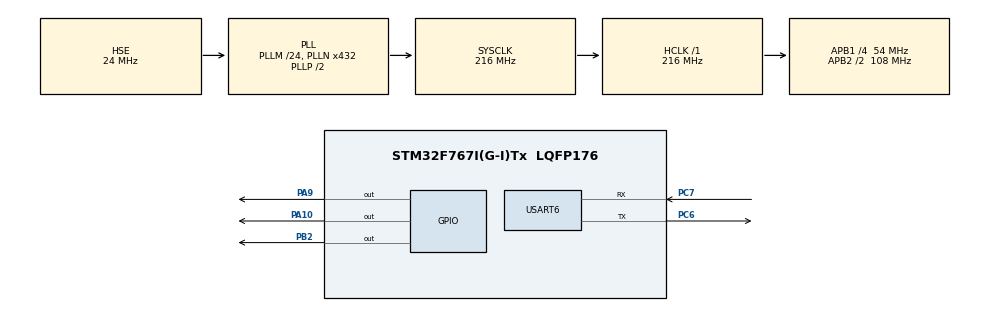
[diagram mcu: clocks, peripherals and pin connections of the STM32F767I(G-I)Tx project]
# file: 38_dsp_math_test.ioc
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Mcu.Family=STM32F7
Mcu.Name=STM32F767I(G-I)Tx
Mcu.Package=LQFP176
NVIC.PriorityGroup=NVIC_PRIORITYGROUP_4
NVIC.TIM3_IRQn=true\:1\:0\:true\:false\:true
NVIC.USART6_IRQn=true\:1\:0\:true\:false\:true
PA10.GPIO_ModeDefaultOutputPP=GPIO_MODE_OUTPUT_PP
PA10.GPIO_PuPd=GPIO_PULLUP
PA10.GPIO_Speed=GPIO_SPEED_FREQ_VERY_HIGH
PA10.PinState=GPIO_PIN_SET
PA10.Signal=GPIO_Output
PA9.GPIO_ModeDefaultOutputPP=GPIO_MODE_OUTPUT_PP
PA9.GPIO_PuPd=GPIO_PULLUP
PA9.GPIO_Speed=GPIO_SPEED_FREQ_VERY_HIGH
PA9.PinState=GPIO_PIN_SET
PA9.Signal=GPIO_Output
PB2.GPIO_PuPd=GPIO_PULLUP
PB2.GPIO_Speed=GPIO_SPEED_FREQ_VERY_HIGH
PB2.PinState=GPIO_PIN_SET
PB2.Signal=GPIO_Output
PC6.Mode=Asynchronous
PC6.Signal=USART6_TX
PC7.Mode=Asynchronous
PC7.Signal=USART6_RX
PH0/OSC_IN.Mode=HSE-External-Oscillator
PH0/OSC_IN.Signal=RCC_OSC_IN
PH1/OSC_OUT.Mode=HSE-External-Oscillator
PH1/OSC_OUT.Signal=RCC_OSC_OUT
ProjectManager.HeapSize=0x200
ProjectManager.StackSize=0x400
ProjectManager.TargetToolchain=MDK-ARM V5
RCC.AHBFreq_Value=216000000
RCC.APB1CLKDivider=RCC_HCLK_DIV4
RCC.APB1Freq_Value=54000000
RCC.APB1TimFreq_Value=108000000
RCC.APB2CLKDivider=RCC_HCLK_DIV2
RCC.APB2Freq_Value=108000000
RCC.APB2TimFreq_Value=216000000
RCC.CortexFreq_Value=216000000
RCC.HCLKFreq_Value=216000000
RCC.HSE_VALUE=24000000
RCC.HSI_VALUE=16000000
RCC.LSE_VALUE=32768
RCC.PLLM=24
RCC.PLLN=432
RCC.PLLSourceVirtual=RCC_PLLSOURCE_HSE
RCC.SYSCLKFreq_VALUE=216000000
RCC.SYSCLKSource=RCC_SYSCLKSOURCE_PLLCLK
RCC.USBFreq_Value=216000000
RCC.VCOOutputFreq_Value=432000000
TIM3.Period=4999
TIM3.Prescaler=10799
USART6.VirtualMode-Asynchronous=VM_ASYNC
VP_TIM3_VS_ClockSourceINT.Mode=Internal
board=38_dsp_math_test

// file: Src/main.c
/**
  ******************************************************************************
  * File Name          : main.c
  * Description        : Main program body
  ******************************************************************************
  ** This notice applies to any and all portions of this file
  * that are not between comment pairs USER CODE BEGIN and
  * USER CODE END. Other portions of this file, whether
  * inserted by the user or by software development tools
  * are owned by their respective copyright owners.
  *
  * COPYRIGHT(c) 2017 STMicroelectronics
  *
  * Redistribution and use in source and binary forms, with or without modification,
  * are permitted provided that the following conditions are met:
  *   1. Redistributions of source code must retain the above copyright notice,
  *      this list of conditions and the following disclaimer.
  *   2. Redistributions in binary form must reproduce the above copyright notice,
  *      this list of conditions and the following disclaimer in the documentation
  *      and/or other materials provided with the distribution.
  *   3. Neither the name of STMicroelectronics nor the names of its contributors
  *      may be used to endorse or promote products derived from this software
  *      without specific prior written permission.
  *
  * THIS SOFTWARE IS PROVIDED BY THE COPYRIGHT HOLDERS AND CONTRIBUTORS "AS IS"
  * AND ANY EXPRESS OR IMPLIED WARRANTIES, INCLUDING, BUT NOT LIMITED TO, THE
  * IMPLIED WARRANTIES OF MERCHANTABILITY AND FITNESS FOR A PARTICULAR PURPOSE ARE
  * DISCLAIMED. IN NO EVENT SHALL THE COPYRIGHT HOLDER OR CONTRIBUTORS BE LIABLE
  * FOR ANY DIRECT, INDIRECT, INCIDENTAL, SPECIAL, EXEMPLARY, OR CONSEQUENTIAL
  * DAMAGES (INCLUDING, BUT NOT LIMITED TO, PROCUREMENT OF SUBSTITUTE GOODS OR
  * SERVICES; LOSS OF USE, DATA, OR PROFITS; OR BUSINESS INTERRUPTION) HOWEVER
  * CAUSED AND ON ANY THEORY OF LIABILITY, WHETHER IN CONTRACT, STRICT LIABILITY,
  * OR TORT (INCLUDING NEGLIGENCE OR OTHERWISE) ARISING IN ANY WAY OUT OF THE USE
  * OF THIS SOFTWARE, EVEN IF ADVISED OF THE POSSIBILITY OF SUCH DAMAGE.
  *
  ******************************************************************************
  */
#include "main.h"
#include "stm32f7xx_hal.h"
#include "tim.h"
#include "usart.h"
#include "gpio.h"

/* USER CODE BEGIN Includes */
#include "usart6.h"
#include "arm_math.h"
#include "math.h"
/* USER CODE END Includes */

/* USER CODE BEGIN PV */
/* Private variables ---------------------------------------------------------*/
const float32_t testInput_f32[MAX_BLOCKSIZE] =
{
  -1.244916875853235400,  -4.793533929171324800,   0.360705030233248850,   0.827929644170887320,  -3.299532218312426900,   3.427441903227623800,   3.422401784294607700,  -0.108308165334010680,
   0.941943896490312180,   0.502609575000365850,  -0.537345278736373500,   2.088817392965764500,  -1.693168684143455700,   6.283185307179590700,  -0.392545884746175080,   0.327893095115825040,
   3.070147440456292300,   0.170611405884662230,  -0.275275082396073010,  -2.395492805446796300,   0.847311163536506600,  -3.845517018083148800,   2.055818378415868300,   4.672594161978930800,
  -1.990923030266425800,   2.469305197656249500,   3.609002606064021000,  -4.586736582331667500,  -4.147080139136136300,   1.643756718868359500,  -1.150866392366494800,   1.985805026477433800
};

int timeout;
/* USER CODE END PV */

void SystemClock_Config(void);

/* USER CODE BEGIN PFP */
/* Private function prototypes -----------------------------------------------*/
int SinCos_Test(float testInput,unsigned char mode);
/* USER CODE END PFP */

/* USER CODE BEGIN 0 */
/*
	实验现象:

	本实验进行DSP浮点运算测试，分别测试出不使用DSP MATH库和使用DSP MATH库的运算时间，进行对比。
	测试成功绿色LED点亮，测试失败红色LED点亮。
*/
/* USER CODE END 0 */

int main(void)
{

  /* USER CODE BEGIN 1 */
	int i,j;
	int res;
	float time[2];
	static int error_flag = 0;
  /* USER CODE END 1 */

  /* MCU Configuration----------------------------------------------------------*/

  /* Reset of all peripherals, Initializes the Flash interface and the Systick. */
  HAL_Init();

  /* Configure the system clock */
  SystemClock_Config();

  /* Initialize all configured peripherals */
  MX_GPIO_Init();
  MX_USART6_UART_Init();
  MX_TIM3_Init();

  /* USER CODE BEGIN 2 */
	usart6.initialize(115200);
	usart6.printf("\x0c");  																							//清屏
	usart6.printf("\033[1;32;40m");                                       //设置终端字体为绿色
	usart6.printf("Hello, I am iCore4!\r\n\r\n");
	usart6.printf("DSP BasicMath TEST......\r\n");
  /* USER CODE END 2 */

  /* Infinite loop */
  while (1)
  {

  /* USER CODE BEGIN 3 */
		timeout = 0;
		__HAL_TIM_SET_COUNTER(&htim3,0);
		for(j = 0;j < 10000;j++){
			for(i = 0;i < MAX_BLOCKSIZE;i ++){
				res = SinCos_Test(testInput_f32[i],0);
				if(res != 0)error_flag ++;
			}
		}
		time[0] = __HAL_TIM_GET_COUNTER(&htim3)+ timeout*5000;

		timeout = 0;
		__HAL_TIM_SET_COUNTER(&htim3,0);
		for(j = 0;j < 10000;j++){
			for(i = 0;i < MAX_BLOCKSIZE;i ++){
				res = SinCos_Test(testInput_f32[i],1);
				if(res != 0)error_flag ++;
			}
		}
		time[1] = __HAL_TIM_GET_COUNTER(&htim3)+ timeout*5000;

		if(error_flag == 0){
			usart6.printf("*NO DSP MATHLIB runtime:%0.1fms *USE DSP MATHLIB runtime:%0.1fms\r",time[0] / 10, time[1] / 10);
			LED_GREEN_ON;
			LED_RED_OFF;
			LED_BLUE_OFF;
		}
		else{
			usart6.printf("Error\r");
			LED_GREEN_OFF;
			LED_RED_ON;
			LED_BLUE_OFF;
		}
  }
  /* USER CODE END 3 */

}

/** System Clock Configuration
*/
void SystemClock_Config(void)
{

  RCC_OscInitTypeDef RCC_OscInitStruct;
  RCC_ClkInitTypeDef RCC_ClkInitStruct;
  RCC_PeriphCLKInitTypeDef PeriphClkInitStruct;

    /**Configure the main internal regulator output voltage
    */
  __HAL_RCC_PWR_CLK_ENABLE();

  __HAL_PWR_VOLTAGESCALING_CONFIG(PWR_REGULATOR_VOLTAGE_SCALE1);

    /**Initializes the CPU, AHB and APB busses clocks
    */
  RCC_OscInitStruct.OscillatorType = RCC_OSCILLATORTYPE_HSE;
  RCC_OscInitStruct.HSEState = RCC_HSE_ON;
  RCC_OscInitStruct.PLL.PLLState = RCC_PLL_ON;
  RCC_OscInitStruct.PLL.PLLSource = RCC_PLLSOURCE_HSE;
  RCC_OscInitStruct.PLL.PLLM = 24;
  RCC_OscInitStruct.PLL.PLLN = 432;
  RCC_OscInitStruct.PLL.PLLP = RCC_PLLP_DIV2;
  RCC_OscInitStruct.PLL.PLLQ = 2;
  if (HAL_RCC_OscConfig(&RCC_OscInitStruct) != HAL_OK)
  {
    _Error_Handler(__FILE__, __LINE__);
  }

    /**Activate the Over-Drive mode
    */
  if (HAL_PWREx_EnableOverDrive() != HAL_OK)
  {
    _Error_Handler(__FILE__, __LINE__);
  }

    /**Initializes the CPU, AHB and APB busses clocks
    */
  RCC_ClkInitStruct.ClockType = RCC_CLOCKTYPE_HCLK|RCC_CLOCKTYPE_SYSCLK
                              |RCC_CLOCKTYPE_PCLK1|RCC_CLOCKTYPE_PCLK2;
  RCC_ClkInitStruct.SYSCLKSource = RCC_SYSCLKSOURCE_PLLCLK;
  RCC_ClkInitStruct.AHBCLKDivider = RCC_SYSCLK_DIV1;
  RCC_ClkInitStruct.APB1CLKDivider = RCC_HCLK_DIV4;
  RCC_ClkInitStruct.APB2CLKDivider = RCC_HCLK_DIV2;

  if (HAL_RCC_ClockConfig(&RCC_ClkInitStruct, FLASH_LATENCY_7) != HAL_OK)
  {
    _Error_Handler(__FILE__, __LINE__);
  }

  PeriphClkInitStruct.PeriphClockSelection = RCC_PERIPHCLK_USART6;
  PeriphClkInitStruct.Usart6ClockSelection = RCC_USART6CLKSOURCE_PCLK2;
  if (HAL_RCCEx_PeriphCLKConfig(&PeriphClkInitStruct) != HAL_OK)
  {
    _Error_Handler(__FILE__, __LINE__);
  }

    /**Configure the Systick interrupt time
    */
  HAL_SYSTICK_Config(HAL_RCC_GetHCLKFreq()/1000);

    /**Configure the Systick
    */
  HAL_SYSTICK_CLKSourceConfig(SYSTICK_CLKSOURCE_HCLK);

  /* SysTick_IRQn interrupt configuration */
  HAL_NVIC_SetPriority(SysTick_IRQn, 0, 0);
}

/* USER CODE BEGIN 4 */
int SinCos_Test(float testInput,unsigned char mode)
{
	float Sinx,Cosx;
	float Result;

	switch (mode){
		case 0://不使用DSP MATH库
			Sinx = sinf(testInput);
			Cosx = cosf(testInput);
			Result = Sinx*Sinx + Cosx*Cosx;
			Result = fabsf(Result-1.0f);
			if(Result > DELTA)return -1;
			break;
		case 1://使用DSP MATH库
			Sinx = arm_sin_f32(testInput);
			Cosx = arm_cos_f32(testInput);
			Result = Sinx*Sinx + Cosx*Cosx;
			Result = fabsf(Result-1.0f);
			if(Result > DELTA)return -1;
			break;
		default:
			break;
	}

	return 0;
}
/* USER CODE END 4 */

void _Error_Handler(char * file, int line)
{
  while(1)
  {
  }
}

/************************ (C) COPYRIGHT STMicroelectronics *****END OF FILE****/
